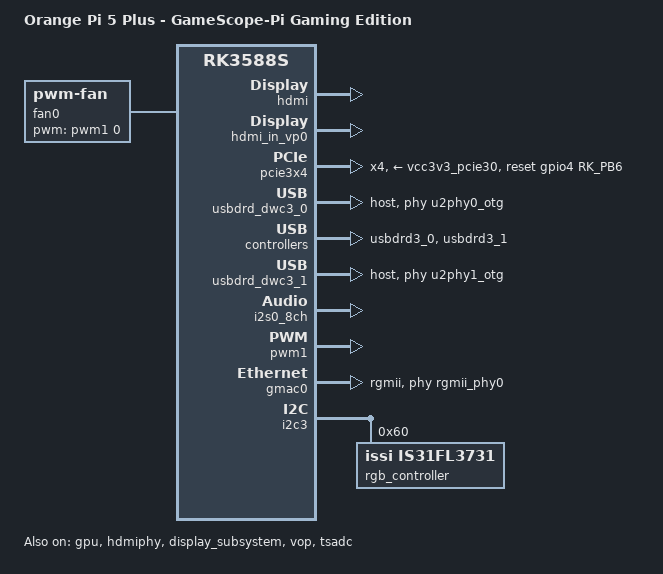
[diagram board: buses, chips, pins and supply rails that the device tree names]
/dts-v1/;
#include <dt-bindings/gpio/gpio.h>
#include <dt-bindings/pinctrl/rockchip.h>
#include "rk3588s.dtsi"
#include "rk3588s-orangepi-5.dtsi"

/ {
    model = "Orange Pi 5 Plus - GameScope-Pi Gaming Edition";
    compatible = "xunlong,orangepi-5-plus", "rockchip,rk3588s";
    
    metadata {
        build-type = "gamescope-pi";
        gpu-driver = "g13p0-valhall";
        features = "gaming-optimized,low-latency,freesync";
    };

    chosen {
        bootargs = "console=ttyS2,1500000n8 root=/dev/mmcblk0p2 rootwait rw quiet splash mitigations=off threadirqs";
    };

    /* GameScope compositor configuration */
    gamescope {
        compatible = "valve,gamescope";
        default-mode = "720p";
        target-fps = <60>;
        
        /* Steam Deck compatibility mode */
        steam-deck-mode;
        
        /* Display settings */
        display {
            adaptive-sync;
            hdr-enabled;
            color-gamut = "srgb";
        };
        
        /* Performance settings */
        performance {
            compositor-priority = "realtime";
            gpu-priority = "high";
            low-latency-mode;
        };
    };

    /* Memory configuration for gaming */
    reserved-memory {
        #address-cells = <2>;
        #size-cells = <2>;
        ranges;

        /* Large CMA for GPU operations */
        linux,cma {
            compatible = "shared-dma-pool";
            reusable;
            size = <0x0 0x80000000>; /* 2GB for gaming */
            alignment = <0x0 0x400000>;
            linux,cma-default;
        };

        /* GPU dedicated memory */
        gpu_reserved: gpu@e0000000 {
            reg = <0x0 0xe0000000 0x0 0x20000000>; /* 512MB */
            no-map;
        };
    };
};

/* High-performance CPU configuration */
&cluster0_opp_table {
    /* Boost little cores for better responsiveness */
    opp-2016000000 {
        opp-hz = /bits/ 64 <2016000000>;
        opp-microvolt = <1000000>;
        clock-latency-ns = <40000>;
    };
};

&cluster1_opp_table {
    /* Boost big cores for gaming performance */
    opp-2400000000 {
        opp-hz = /bits/ 64 <2400000000>;
        opp-microvolt = <1050000>;
        clock-latency-ns = <40000>;
    };
    
    opp-2600000000 {
        opp-hz = /bits/ 64 <2600000000>;
        opp-microvolt = <1100000>;
        clock-latency-ns = <40000>;
        turbo-mode;
    };
};

/* Mali G610 GPU with gaming optimizations */
&gpu {
    compatible = "arm,mali-g610", "arm,mali-valhall";
    mali-supply = <&vdd_gpu_s0>;
    operating-points-v2 = <&gpu_gaming_opp_table>;
    status = "okay";
    
    /* Gaming-optimized scheduler */
    mali,scheduler = "performance";
    mali,power-policy = "always-on";
    
    /* Enable all GPU cores */
    mali,core-mask = <0xf>;
    
    gpu_gaming_opp_table: opp-table {
        compatible = "operating-points-v2";
        
        opp-300000000 {
            opp-hz = /bits/ 64 <300000000>;
            opp-microvolt = <675000>;
        };
        opp-500000000 {
            opp-hz = /bits/ 64 <500000000>;
            opp-microvolt = <700000>;
        };
        opp-700000000 {
            opp-hz = /bits/ 64 <700000000>;
            opp-microvolt = <800000>;
        };
        opp-900000000 {
            opp-hz = /bits/ 64 <900000000>;
            opp-microvolt = <900000>;
        };
        opp-1000000000 {
            opp-hz = /bits/ 64 <1000000000>;
            opp-microvolt = <950000>;
        };
        /* Overclocked frequencies for gaming */
        opp-1100000000 {
            opp-hz = /bits/ 64 <1100000000>;
            opp-microvolt = <1000000>;
            turbo-mode;
        };
        opp-1200000000 {
            opp-hz = /bits/ 64 <1200000000>;
            opp-microvolt = <1050000>;
            turbo-mode;
        };
    };
};

/* Display configuration for gaming */
&hdmi {
    status = "okay";
    
    /* Gaming display features */
    rockchip,hdmi21-frl-support;
    rockchip,4k120-support;
    rockchip,vrr-support; /* Variable Refresh Rate */
    rockchip,allm-support; /* Auto Low Latency Mode */
    rockchip,qft-support; /* Quick Frame Transport */
    rockchip,qms-support; /* Quick Media Switching */
};

&hdmi_in_vp0 {
    status = "okay";
};

&hdmiphy {
    status = "okay";
};

&display_subsystem {
    status = "okay";
    
    /* Gaming-specific display settings */
    rockchip,prefer-async-commit;
    rockchip,low-latency-mode;
};

&vop {
    status = "okay";
    
    /* High refresh rate support */
    assigned-clocks = <&cru DCLK_VOP0>, <&cru DCLK_VOP1>;
    assigned-clock-rates = <594000000>, <594000000>; /* 4K@120Hz capable */
};

/* PCIe for external GPU or NVMe storage */
&pcie3x4 {
    reset-gpios = <&gpio4 RK_PB6 GPIO_ACTIVE_HIGH>;
    vpcie3v3-supply = <&vcc3v3_pcie30>;
    status = "okay";
    
    /* Gaming SSD optimizations */
    max-link-speed = <3>;
    num-lanes = <4>;
    linux,pci-probe-only;
};

/* USB for gaming peripherals */
&usbdrd_dwc3_0 {
    dr_mode = "host";
    maximum-speed = "super-speed";
    phys = <&u2phy0_otg>, <&usbdp_phy0_u3>;
    phy-names = "usb2-phy", "usb3-phy";
    status = "okay";
};

&usbdrd3_0 {
    status = "okay";
};

&usbdrd_dwc3_1 {
    dr_mode = "host";
    maximum-speed = "super-speed";
    phys = <&u2phy1_otg>, <&usbdp_phy1_u3>;
    phy-names = "usb2-phy", "usb3-phy";
    status = "okay";
};

&usbdrd3_1 {
    status = "okay";
};

/* Audio for gaming headsets */
&i2s0_8ch {
    status = "okay";
    
    /* Low latency audio configuration */
    rockchip,sample-rate = <48000>;
    rockchip,channels = <2>;
    rockchip,bit-depth = <24>;
    rockchip,low-latency;
};

/* Fan control for cooling during gaming */
&pwm1 {
    status = "okay";
};

/ {
    fan0: pwm-fan {
        compatible = "pwm-fan";
        pwms = <&pwm1 0 50000 0>;
        #cooling-cells = <2>;
        /* Aggressive cooling for gaming */
        cooling-levels = <0 100 150 200 255>;
        
        /* Custom fan curve for gaming */
        trips {
            fan_on: trip-point@0 {
                temperature = <50000>;
                hysteresis = <2000>;
            };
            fan_med: trip-point@1 {
                temperature = <60000>;
                hysteresis = <2000>;
            };
            fan_high: trip-point@2 {
                temperature = <70000>;
                hysteresis = <2000>;
            };
            fan_max: trip-point@3 {
                temperature = <80000>;
                hysteresis = <2000>;
            };
        };
    };
};

/* Thermal configuration for sustained gaming */
&tsadc {
    status = "okay";
};

&thermal_zones {
    soc-thermal {
        polling-delay-passive = <100>;
        polling-delay = <1000>;
        
        trips {
            /* Higher thermal limits for gaming */
            soc_alert: trip-point@0 {
                temperature = <85000>;
                hysteresis = <2000>;
                type = "passive";
            };
            soc_crit: trip-point@1 {
                temperature = <95000>;
                hysteresis = <2000>;
                type = "critical";
            };
        };
        
        cooling-maps {
            map0 {
                trip = <&soc_alert>;
                cooling-device = <&fan0 2 3>;
            };
            map1 {
                trip = <&soc_alert>;
                cooling-device = <&cpu_l0 THERMAL_NO_LIMIT THERMAL_NO_LIMIT>;
            };
        };
    };
};

/* Network for online gaming */
&gmac0 {
    phy-mode = "rgmii";
    clock_in_out = "output";
    
    assigned-clocks = <&cru SCLK_GMAC0_RX_TX>, <&cru SCLK_GMAC0>;
    assigned-clock-parents = <&cru SCLK_GMAC0_RGMII_SPEED>;
    assigned-clock-rates = <0>, <125000000>;
    
    pinctrl-names = "default";
    pinctrl-0 = <&gmac0_pins>;
    
    tx_delay = <0x3c>;
    rx_delay = <0x2f>;
    
    phy-handle = <&rgmii_phy0>;
    status = "okay";
    
    /* Low latency network settings */
    snps,txpbl = <0x4>;
    snps,rxpbl = <0x4>;
    snps,aal;
    snps,tso;
};

/* RGB lighting control */
&i2c3 {
    status = "okay";
    
    rgb_controller: led-controller@60 {
        compatible = "issi,is31fl3731";
        reg = <0x60>;
        
        /* Gaming RGB effects */
        led@0 {
            reg = <0>;
            label = "gaming:rgb:effect";
            linux,default-trigger = "heartbeat";
        };
    };
};

/* Performance monitoring */
/ {
    performance-monitor {
        compatible = "rockchip,rk3588-performance";
        
        /* Monitor gaming performance */
        rockchip,monitor-cpu;
        rockchip,monitor-gpu;
        rockchip,monitor-ddr;
        rockchip,monitor-thermal;
    };
};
